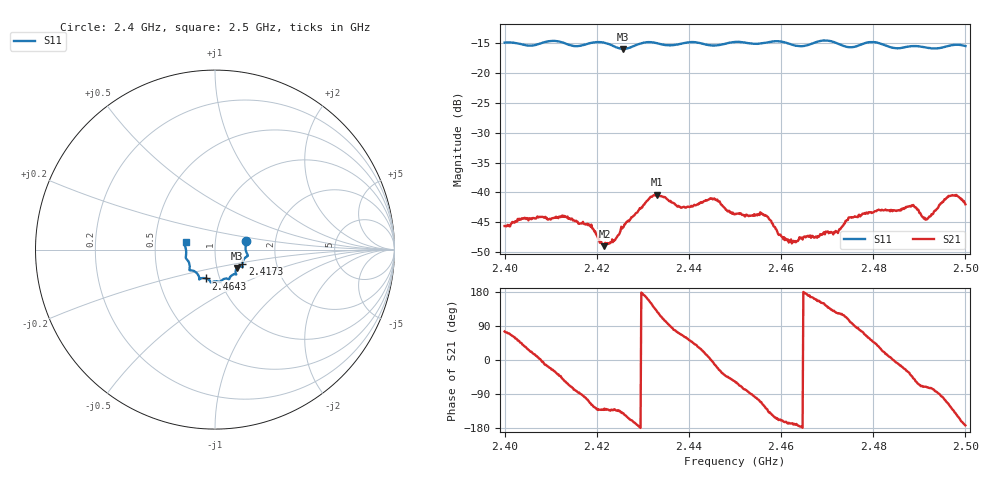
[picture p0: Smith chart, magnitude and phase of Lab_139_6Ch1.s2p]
# Hz S RI R 50
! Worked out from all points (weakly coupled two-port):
!   601 points, 2.4 GHz to 2.5 GHz, reference 50 ohm
!   highest |S21| = -40.41 dB at 2.433 GHz (marker M1); lowest = -49.0 dB at 2.4217 GHz (marker M2)
!   lowest |S11| = -15.9 dB at 2.4257 GHz (marker M3), VSWR 1.38, Z = 62.4 - j13.1 ohm
!   |S11| at or under -10 dB: start of sweep to end of sweep
!   S12 and S22 are empty: the file has one direction only
!   S11 on the Smith chart (normalised r, x): 2.4 GHz: 1.41, +0.14; 2.4173 GHz: 1.34, -0.23; 2.4643 GHz: 0.86, -0.28; 2.5 GHz: 0.72, +0.06
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2.4e9  0.1736 0.049  0.00132 0.00504  0 0  0 0
2.407667e9  0.1762 -0.0173  0.00623 0.000308  0 0  0 0
2.416667e9  0.1532 -0.0747  -5.63e-05 -0.00546  0 0  0 0
2.417333e9  0.1524 -0.0822  -0.000749 -0.00534  0 0  0 0
2.421667e9  0.1528 -0.0954  -0.00218 -0.00277  0 0  0 0
2.425667e9  0.1226 -0.1024  -0.00386 -0.00325  0 0  0 0
2.433e9  0.1148 -0.1369  -0.00609 0.00734  0 0  0 0
2.433333e9  0.1129 -0.1365  -0.00533 0.00777  0 0  0 0
2.438667e9  0.0815 -0.1582  0.00325 0.00677  0 0  0 0
2.445167e9  0.0538 -0.1619  0.00869 -0.000746  0 0  0 0
2.45e9  0.0294 -0.1807  0.00361 -0.00552  0 0  0 0
2.456e9  -0.00624 -0.178  -0.00298 -0.00579  0 0  0 0
2.460833e9  -0.0257 -0.1792  -0.00381 -0.00108  0 0  0 0
2.464333e9  -0.05 -0.1607  -0.00414 -0.000311  0 0  0 0
2.466667e9  -0.0761 -0.1596  -0.00418 0.00105  0 0  0 0
2.471833e9  -0.0877 -0.1575  -0.00281 0.00382  0 0  0 0
2.475167e9  -0.1079 -0.1249  -0.000967 0.0061  0 0  0 0
2.483333e9  -0.1409 -0.0901  0.00696 0.00124  0 0  0 0
2.488833e9  -0.1624 -0.0465  0.00495 -0.00587  0 0  0 0
2.4915e9  -0.1612 -0.03  0.00197 -0.00565  0 0  0 0
2.496667e9  -0.1689 0.024  -0.0049 -0.00794  0 0  0 0
2.5e9  -0.1636 0.0417  -0.00785 -0.00104  0 0  0 0
